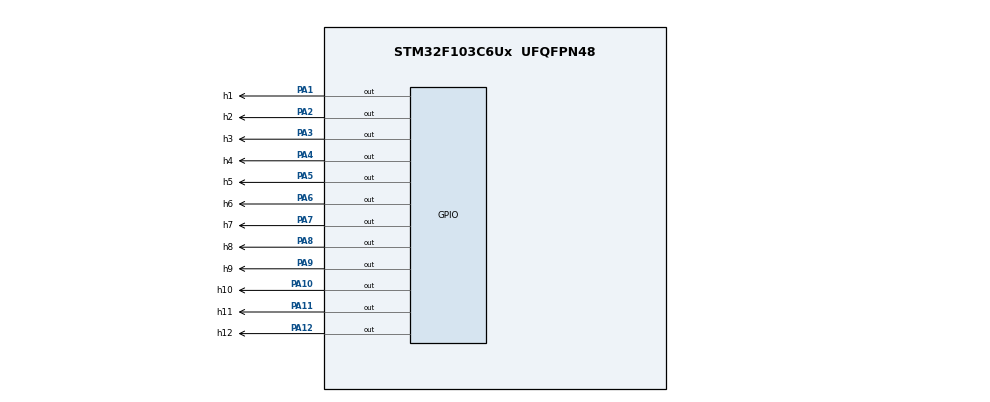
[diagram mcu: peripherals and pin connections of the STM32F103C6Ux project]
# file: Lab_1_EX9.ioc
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Mcu.Family=STM32F1
Mcu.Name=STM32F103C6Ux
Mcu.Package=UFQFPN48
NVIC.PriorityGroup=NVIC_PRIORITYGROUP_4
PA1.GPIO_Label=h1
PA1.Signal=GPIO_Output
PA10.GPIO_Label=h10
PA10.Signal=GPIO_Output
PA11.GPIO_Label=h11
PA11.Signal=GPIO_Output
PA12.GPIO_Label=h12
PA12.Signal=GPIO_Output
PA2.GPIO_Label=h2
PA2.Signal=GPIO_Output
PA3.GPIO_Label=h3
PA3.Signal=GPIO_Output
PA4.GPIO_Label=h4
PA4.Signal=GPIO_Output
PA5.GPIO_Label=h5
PA5.Signal=GPIO_Output
PA6.GPIO_Label=h6
PA6.Signal=GPIO_Output
PA7.GPIO_Label=h7
PA7.Signal=GPIO_Output
PA8.GPIO_Label=h8
PA8.Signal=GPIO_Output
PA9.GPIO_Label=h9
PA9.Signal=GPIO_Output
ProjectManager.HeapSize=0x200
ProjectManager.StackSize=0x400
ProjectManager.TargetToolchain=STM32CubeIDE
RCC.APB1Freq_Value=8000000
RCC.APB2Freq_Value=8000000
VP_SYS_VS_ND.Mode=No_Debug
board=custom

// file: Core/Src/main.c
/* USER CODE BEGIN Header */
/**
  ******************************************************************************
  * @file           : main.c
  * @brief          : Main program body
  ******************************************************************************
  * @attention
  *
  * <h2><center>&copy; Copyright (c) 2026 STMicroelectronics.
  * All rights reserved.</center></h2>
  *
  * This software component is licensed by ST under BSD 3-Clause license,
  * the "License"; You may not use this file except in compliance with the
  * License. You may obtain a copy of the License at:
  *                        opensource.org/licenses/BSD-3-Clause
  *
  ******************************************************************************
  */
/* USER CODE END Header */
#include "main.h"

void SystemClock_Config(void);
static void MX_GPIO_Init(void);
/* USER CODE BEGIN PFP */
void setNumberOnClock(int num);
void clearNumberOnClock(int num);
void clearAllClock(void);
/* USER CODE END PFP */

int main(void)
{

  /* MCU Configuration--------------------------------------------------------*/

  /* Reset of all peripherals, Initializes the Flash interface and the Systick. */
  HAL_Init();

  /* Configure the system clock */
  SystemClock_Config();

  /* Initialize all configured peripherals */
  MX_GPIO_Init();

  /* Infinite loop */
  /* USER CODE BEGIN WHILE */
  while (1)
  {
	    // Bật toàn bộ 12 LED
	    setNumberOnClock(0);
	    setNumberOnClock(1);
	    setNumberOnClock(2);
	    setNumberOnClock(3);
	    setNumberOnClock(4);
	    setNumberOnClock(5);
	    setNumberOnClock(6);
	    setNumberOnClock(7);
	    setNumberOnClock(8);
	    setNumberOnClock(9);
	    setNumberOnClock(10);
	    setNumberOnClock(11);

	    // Tắt riêng LED số 1 trong 5 giây
	    clearNumberOnClock(1);
	    HAL_Delay(5000);

	    // Bật lại LED số 1 để reset trạng thái trước khi lặp lại vòng while
	    setNumberOnClock(1);
	    HAL_Delay(1000);

    /* USER CODE END WHILE */

  }
}

void SystemClock_Config(void)
{
  RCC_OscInitTypeDef RCC_OscInitStruct = {0};
  RCC_ClkInitTypeDef RCC_ClkInitStruct = {0};

  /** Initializes the RCC Oscillators according to the specified parameters
  * in the RCC_OscInitTypeDef structure.
  */
  RCC_OscInitStruct.OscillatorType = RCC_OSCILLATORTYPE_HSI;
  RCC_OscInitStruct.HSIState = RCC_HSI_ON;
  RCC_OscInitStruct.HSICalibrationValue = RCC_HSICALIBRATION_DEFAULT;
  RCC_OscInitStruct.PLL.PLLState = RCC_PLL_NONE;
  if (HAL_RCC_OscConfig(&RCC_OscInitStruct) != HAL_OK)
  {
    Error_Handler();
  }
  /** Initializes the CPU, AHB and APB buses clocks
  */
  RCC_ClkInitStruct.ClockType = RCC_CLOCKTYPE_HCLK|RCC_CLOCKTYPE_SYSCLK
                              |RCC_CLOCKTYPE_PCLK1|RCC_CLOCKTYPE_PCLK2;
  RCC_ClkInitStruct.SYSCLKSource = RCC_SYSCLKSOURCE_HSI;
  RCC_ClkInitStruct.AHBCLKDivider = RCC_SYSCLK_DIV1;
  RCC_ClkInitStruct.APB1CLKDivider = RCC_HCLK_DIV1;
  RCC_ClkInitStruct.APB2CLKDivider = RCC_HCLK_DIV1;

  if (HAL_RCC_ClockConfig(&RCC_ClkInitStruct, FLASH_LATENCY_0) != HAL_OK)
  {
    Error_Handler();
  }
}

static void MX_GPIO_Init(void)
{
  GPIO_InitTypeDef GPIO_InitStruct = {0};

  /* GPIO Ports Clock Enable */
  __HAL_RCC_GPIOA_CLK_ENABLE();

  /*Configure GPIO pin Output Level */
  HAL_GPIO_WritePin(GPIOA, h1_Pin|h2_Pin|h3_Pin|h4_Pin
                          |h5_Pin|h6_Pin|h7_Pin|h8_Pin
                          |h9_Pin|h10_Pin|h11_Pin|h12_Pin, GPIO_PIN_RESET);

  /*Configure GPIO pins : h1_Pin h2_Pin h3_Pin h4_Pin
                           h5_Pin h6_Pin h7_Pin h8_Pin
                           h9_Pin h10_Pin h11_Pin h12_Pin */
  GPIO_InitStruct.Pin = h1_Pin|h2_Pin|h3_Pin|h4_Pin
                          |h5_Pin|h6_Pin|h7_Pin|h8_Pin
                          |h9_Pin|h10_Pin|h11_Pin|h12_Pin;
  GPIO_InitStruct.Mode = GPIO_MODE_OUTPUT_PP;
  GPIO_InitStruct.Pull = GPIO_NOPULL;
  GPIO_InitStruct.Speed = GPIO_SPEED_FREQ_LOW;
  HAL_GPIO_Init(GPIOA, &GPIO_InitStruct);

}

/* USER CODE BEGIN 4 */
void clearAllClock(void) {
    uint16_t clock_pins[12] = {
        h1_Pin, h2_Pin, h3_Pin, h4_Pin,
        h5_Pin, h6_Pin, h7_Pin, h8_Pin,
        h9_Pin, h10_Pin, h11_Pin, h12_Pin
    };

    for (int i = 0; i < 12; i++) {
        HAL_GPIO_WritePin(GPIOA, clock_pins[i], GPIO_PIN_RESET); // tắt LED thứ i (active-high đã đảo)
    }
}
void setNumberOnClock(int num) {
    uint16_t clock_pins[12] = {
        h1_Pin, h2_Pin, h3_Pin, h4_Pin,
        h5_Pin, h6_Pin, h7_Pin, h8_Pin,
        h9_Pin, h10_Pin, h11_Pin, h12_Pin
    };

    if (num >= 0 && num < 12) {
        HAL_GPIO_WritePin(GPIOA, clock_pins[num], GPIO_PIN_SET); // bật LED tại vị trí num
    }
}
void clearNumberOnClock(int num) {
    uint16_t clock_pins[12] = {
        h1_Pin, h2_Pin, h3_Pin, h4_Pin,
        h5_Pin, h6_Pin, h7_Pin, h8_Pin,
        h9_Pin, h10_Pin, h11_Pin, h12_Pin
    };

    if (num >= 0 && num < 12) {
        HAL_GPIO_WritePin(GPIOA, clock_pins[num], GPIO_PIN_RESET); // tắt LED tại vị trí num
    }
}
/* USER CODE END 4 */

void Error_Handler(void)
{
  __disable_irq();
  while (1)
  {
  }
}

/************************ (C) COPYRIGHT STMicroelectronics *****END OF FILE****/
